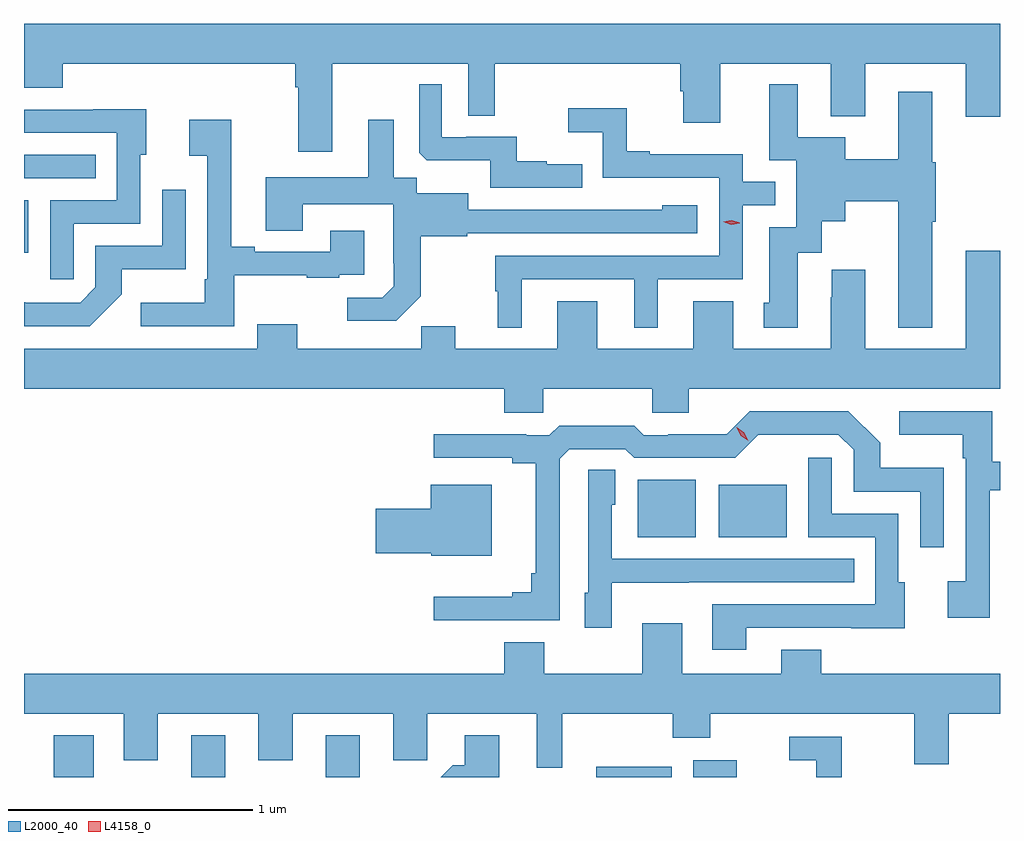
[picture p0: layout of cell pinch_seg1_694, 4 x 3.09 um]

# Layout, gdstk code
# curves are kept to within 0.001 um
import gdstk
lib = gdstk.Library(unit=1e-6, precision=1e-09)
def R(c, l, rs):  # rectangles x0, y0, x1, y1
    for r in rs: c.add(gdstk.rectangle(r[:2], r[2:], *l))
def P(c, l, *ps):  # polygons
    for p in ps: c.add(gdstk.Polygon(p, *l))
L2000_40 = (2000, 40)
L4158_0 = (4158, 0)

pinch_seg1_694 = lib.new_cell('pinch_seg1_694')
R(pinch_seg1_694, L2000_40, [(752.777,574.115,752.941,574.288), (753.341,574.115,753.481,574.288), (753.893,574.115,754.033,574.288), (755.001,574.115,755.31,574.158), (755.399,574.115,755.578,574.186), (755.171,575.099,755.41,575.335), (755.504,575.099,755.782,575.314), (752.656,576.266,752.674,576.481), (752.656,576.57,752.951,576.666)])
P(pinch_seg1_694, L2000_40, [(752.656,576.941),(752.815,576.941),(752.815,577.04),(753.767,577.04),(753.767,576.944),(753.779,576.944),(753.779,576.678),(753.919,576.678),(753.919,577.04),(754.476,577.04),(754.476,576.826),(754.585,576.826),(754.585,577.04),(755.345,577.04),(755.345,576.927),(755.357,576.927),(755.357,576.798),(755.509,576.798),(755.509,577.04),(755.963,577.04),(755.963,576.824),(756.103,576.824),(756.103,577.04),(756.515,577.04),(756.515,576.822),(756.656,576.822),(756.656,577.204),(752.656,577.204)],
  [(754.943,576.628),(754.799,576.628),(754.799,576.64),(754.676,576.64),(754.676,576.741),(754.468,576.741),(754.468,576.738),(754.368,576.738),(754.368,576.955),(754.275,576.955),(754.275,576.675),(754.307,576.644),(754.566,576.644),(754.566,576.531),(754.943,576.531)],
  [(756.379,576.392),(756.392,576.392),(756.392,576.636),(756.379,576.636),(756.379,576.925),(756.239,576.925),(756.239,576.648),(756.022,576.648),(756.022,576.739),(755.827,576.739),(755.827,576.955),(755.711,576.955),(755.711,576.645),(755.82,576.645),(755.82,576.369),(755.711,576.369),(755.711,576.06),(755.687,576.06),(755.687,575.958),(755.827,575.958),(755.827,576.266),(755.925,576.266),(755.925,576.395),(756.022,576.395),(756.022,576.476),(756.239,576.476),(756.239,575.957),(756.379,575.957)],
  [(754.696,576.156),(755.156,576.156),(755.156,575.957),(755.254,575.957),(755.254,576.156),(755.601,576.156),(755.601,576.459),(755.734,576.459),(755.734,576.555),(755.601,576.555),(755.601,576.669),(755.221,576.669),(755.221,576.682),(755.127,576.682),(755.127,576.857),(754.887,576.857),(754.887,576.758),(755.028,576.758),(755.028,576.573),(755.505,576.573),(755.505,576.252),(754.587,576.252),(754.587,576.108),(754.598,576.108),(754.598,575.957),(754.696,575.957)],
  [(752.859,576.384),(753.132,576.384),(753.132,576.666),(753.157,576.666),(753.157,576.854),(752.939,576.854),(752.939,576.852),(752.656,576.852),(752.656,576.756),(753.036,576.756),(753.036,576.48),(752.763,576.48),(752.763,576.156),(752.859,576.156)],
  [(754.281,576.087),(754.281,576.333),(754.473,576.333),(754.473,576.345),(755.416,576.345),(755.416,576.46),(755.271,576.46),(755.271,576.442),(754.477,576.441),(754.477,576.508),(754.266,576.508),(754.266,576.572),(754.171,576.572),(754.171,576.811),(754.067,576.811),(754.067,576.574),(753.647,576.574),(753.647,576.355),(753.799,576.355),(753.799,576.464),(754.17,576.464),(754.17,576.223),(754.172,576.223),(754.172,576.128),(754.125,576.081),(753.981,576.081),(753.981,575.987),(754.181,575.987)],
  [(753.517,576.173),(753.815,576.173),(753.815,576.162),(753.947,576.162),(753.947,576.174),(754.051,576.174),(754.051,576.355),(753.911,576.355),(753.911,576.27),(753.601,576.27),(753.601,576.289),(753.505,576.289),(753.505,576.811),(753.333,576.811),(753.333,576.662),(753.408,576.662),(753.408,576.157),(753.396,576.157),(753.396,576.061),(753.135,576.061),(753.135,575.964),(753.517,575.964)],
  [(753.057,576.095),(753.057,576.197),(753.318,576.197),(753.318,576.523),(753.222,576.523),(753.222,576.294),(752.949,576.294),(752.949,576.123),(752.886,576.06),(752.662,576.06),(752.662,576.062),(752.656,576.062),(752.656,575.964),(752.926,575.964)],
  [(756.656,576.274),(756.515,576.274),(756.515,575.872),(756.103,575.872),(756.103,576.196),(755.966,576.196),(755.966,576.083),(755.963,576.083),(755.963,575.872),(755.563,575.872),(755.563,576.067),(755.399,576.067),(755.399,575.872),(755.005,575.872),(755.005,576.067),(754.841,576.067),(754.841,575.872),(754.423,575.872),(754.423,575.963),(754.285,575.963),(754.285,575.872),(753.775,575.872),(753.775,575.971),(753.611,575.971),(753.611,575.872),(752.656,575.872),(752.656,575.708),(754.625,575.708),(754.625,575.61),(754.785,575.61),(754.785,575.708),(755.23,575.708),(755.23,575.61),(755.38,575.61),(755.38,575.708),(756.656,575.708)],
  [(756.613,575.292),(756.656,575.292),(756.656,575.408),(756.625,575.408),(756.625,575.616),(756.243,575.616),(756.243,575.519),(756.504,575.519),(756.504,575.423),(756.516,575.423),(756.516,574.918),(756.441,574.918),(756.441,574.77),(756.613,574.77)],
  [(754.851,575.421),(754.89,575.46),(755.121,575.46),(755.157,575.424),(755.571,575.424),(755.666,575.519),(755.994,575.52),(756.057,575.457),(756.057,575.286),(756.33,575.286),(756.33,575.058),(756.426,575.058),(756.426,575.383),(756.165,575.383),(756.165,575.486),(756.034,575.616),(755.631,575.616),(755.537,575.522),(755.296,575.522),(755.296,575.517),(755.196,575.517),(755.157,575.557),(754.849,575.557),(754.809,575.517),(754.715,575.517),(754.715,575.522),(754.335,575.522),(754.335,575.424),(754.658,575.424),(754.658,575.402),(754.754,575.402),(754.754,574.951),(754.735,574.951),(754.735,574.874),(754.658,574.874),(754.658,574.855),(754.335,574.855),(754.335,574.758),(754.851,574.758)],
  [(755.617,574.728),(756.047,574.728),(756.047,574.727),(756.265,574.727),(756.265,574.914),(756.24,574.914),(756.24,575.196),(755.967,575.196),(755.967,575.425),(755.871,575.425),(755.871,575.1),(756.144,575.1),(756.144,574.824),(755.477,574.824),(755.477,574.638),(755.617,574.638)],
  [(755.064,574.913),(755.381,574.913),(755.381,574.914),(756.059,574.914),(756.059,575.01),(755.064,575.01),(755.064,575.232),(755.08,575.232),(755.08,575.375),(754.968,575.375),(754.968,574.872),(754.955,574.872),(754.955,574.728),(755.064,574.728)],
  [(754.573,575.314),(754.322,575.314),(754.322,575.216),(754.098,575.216),(754.098,575.033),(754.326,575.033),(754.326,575.024),(754.573,575.024)],
  [(754.861,574.376),(755.314,574.376),(755.314,574.277),(755.469,574.277),(755.469,574.376),(756.305,574.376),(756.305,574.168),(756.445,574.168),(756.445,574.376),(756.656,574.376),(756.656,574.54),(755.923,574.54),(755.923,574.639),(755.759,574.639),(755.759,574.54),(755.353,574.54),(755.353,574.747),(755.189,574.747),(755.189,574.54),(754.789,574.54),(754.789,574.669),(754.625,574.669),(754.625,574.54),(752.656,574.54),(752.656,574.376),(753.065,574.376),(753.065,574.186),(753.205,574.186),(753.205,574.376),(753.617,574.376),(753.617,574.186),(753.757,574.186),(753.757,574.376),(754.169,574.376),(754.169,574.186),(754.308,574.186),(754.308,574.376),(754.757,574.376),(754.757,574.155),(754.861,574.155)],
  [(754.603,574.288),(754.463,574.288),(754.463,574.165),(754.414,574.165),(754.364,574.115),(754.603,574.115)],
  [(756.007,574.281),(755.793,574.281),(755.793,574.185),(755.903,574.185),(755.903,574.115),(756.007,574.115)])
P(pinch_seg1_694, L4158_0, [(755.624,575.494),(755.593,575.515),(755.577,575.548),(755.577,575.549),(755.577,575.549),(755.608,575.528),(755.624,575.494),(755.624,575.494)],
  [(755.554,576.379),(755.521,576.392),(755.521,576.392),(755.521,576.392),(755.556,576.399),(755.589,576.387),(755.59,576.387),(755.589,576.386)])

lib.write_gds('pinch_seg1_694.gds')
